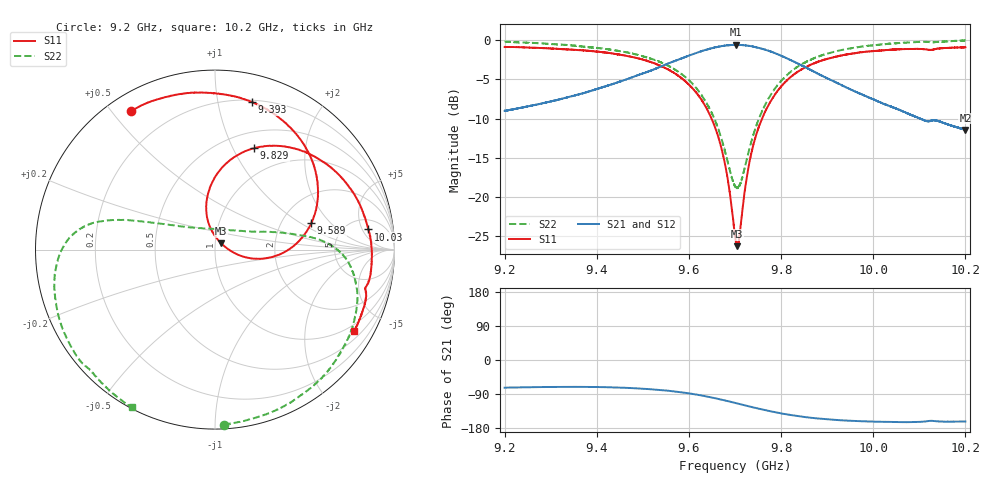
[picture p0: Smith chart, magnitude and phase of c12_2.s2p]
!Agilent Technologies,N5242A,MY51221714,A.09.90.19
!Agilent N5242A: A.09.90.19
!Date: Saturday, March 16, 2024 10:24:05
!Correction: S11(Full 2 Port(1,2))
!S21(Full 2 Port(1,2))
!S12(Full 2 Port(1,2))
!S22(Full 2 Port(1,2))
!S2P File: Measurements: S11, S21, S12, S22:
# Hz S  dB  R 50
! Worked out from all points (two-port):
!   16001 points, 9.2 GHz to 10.2 GHz, reference 50 ohm
!   highest |S21| = -0.61 dB at 9.703 GHz (marker M1); lowest = -11.4 dB at 10.2 GHz (marker M2)
!   |S21| within 3 dB of the highest: 9.529 GHz to 9.857 GHz (328 MHz wide, 3.38 % of centre); 9.857515 GHz to 9.857655 GHz (140.7 kHz wide, 0.00143 % of centre)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
!   lowest |S11| = -26.2 dB at 9.705 GHz (marker M3), VSWR 1.10, Z = 53.4 + j3.73 ohm
!   |S11| at or under -10 dB: 9.649 GHz to 9.759 GHz (109.6 MHz wide, 1.13 % of centre)
!   |S22| runs from -18.9 to -0.1 dB; largest |S21 - S12| = 0.012
!   S11 on the Smith chart (normalised r, x): 9.2 GHz: 0.07, +0.56; 9.393 GHz: 0.21, +1.26; 9.589 GHz: 2.92, +1.24; 9.829 GHz: 0.68, +1.22; 10.03 GHz: 8, +7; 10.2 GHz: 0.76, -3.55
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9.2e9  -0.90 121.3  -9.02 -73.0  -9.02 -73.6  -0.21 -87.1
9.2795e9  -1.03 103.3  -8.09 -71.4  -8.09 -71.9  -0.43 -65.0
9.366688e9  -1.31 82.7  -6.83 -71.0  -6.81 -71.5  -0.81 -41.7
9.393e9  -1.43 76.0  -6.37 -71.2  -6.36 -71.8  -0.97 -34.9
9.461438e9  -1.99 57.4  -5.07 -73.4  -5.08 -73.9  -1.54 -18.8
9.533375e9  -3.16 35.2  -3.51 -78.6  -3.51 -79.0  -2.70 -4.0
9.588812e9  -5.10 15.3  -2.25 -86.2  -2.23 -86.7  -4.57 5.2
9.66025e9  -11.71 -11.3  -0.91 -101.8  -0.90 -102.3  -10.75 20.1
9.681312e9  -16.75 -13.3  -0.69 -107.6  -0.69 -108.2  -14.84 35.1
9.7e9  -24.84 17.1  -0.63 -113.1  -0.61 -113.7  -18.64 72.7
9.702562e9  -25.88 31.1  -0.61 -114.0  -0.62 -114.5  -18.76 80.3
9.704938e9  -26.25 45.7  -0.62 -114.7  -0.61 -115.2  -18.76 87.5
9.72975e9  -16.08 103.9  -0.75 -122.1  -0.72 -122.8  -14.20 140.1
9.749625e9  -11.43 100.2  -0.99 -127.9  -0.97 -128.5  -10.36 152.4
9.784438e9  -7.15 86.8  -1.62 -137.2  -1.64 -137.8  -6.37 160.4
9.828688e9  -4.35 68.8  -2.78 -146.7  -2.79 -147.2  -3.70 166.0
9.866688e9  -3.09 54.7  -3.90 -152.7  -3.89 -153.3  -2.45 170.9
9.945688e9  -1.81 29.4  -6.15 -160.1  -6.16 -160.6  -1.12 -176.0
1.002812e10  -1.29 7.5  -8.25 -163.2  -8.25 -163.8  -0.52 -158.9
1.003338e10  -1.26 6.2  -8.37 -163.3  -8.36 -163.9  -0.48 -157.6
1.011038e10  -1.17 -12.1  -10.21 -162.6  -10.21 -163.2  -0.24 -140.3
1.02e10  -0.94 -30.3  -11.45 -162.3  -11.43 -163.0  -0.07 -117.7
